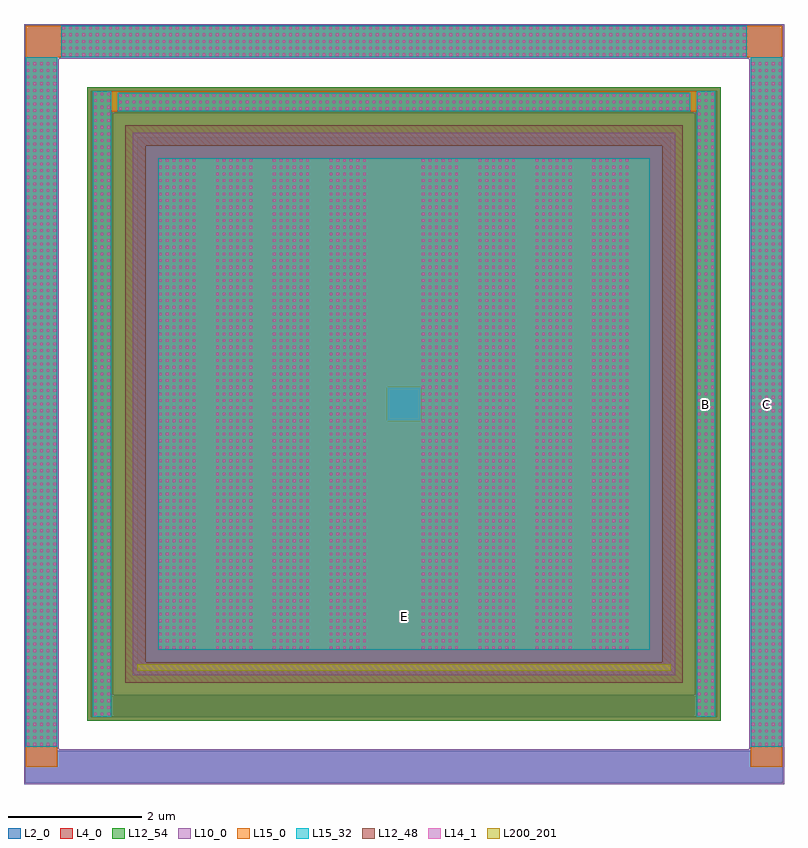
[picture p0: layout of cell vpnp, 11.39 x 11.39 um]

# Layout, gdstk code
import gdstk
lib = gdstk.Library(unit=1e-6, precision=1e-09)
def R(c, l, rs):  # rectangles x0, y0, x1, y1
    for r in rs: c.add(gdstk.rectangle(r[:2], r[2:], *l))
def A(c, l, x, y, w, h, nx, ny, dx, dy):  # array of equal rectangles
    R(c, l, [(x+i*dx, y+j*dy, x+i*dx+w, y+j*dy+h) for i in range(nx) for j in range(ny)])
L2_0 = (2, 0)
L4_0 = (4, 0)
L10_0 = (10, 0)
L12_48 = (12, 48)
L12_54 = (12, 54)
L14_1 = (14, 1)
L15_0 = (15, 0)
L15_32 = (15, 32)
L200_201 = (200, 201)

vpnp = lib.new_cell('vpnp')
R(vpnp, L2_0, [(-12.179,-4.209,-0.827,-3.729), (-12.179,-3.729,-11.699,6.663), (-1.307,-3.729,-0.827,6.663), (-11.199,-3.229,-1.807,-2.889), (-11.199,-2.889,-10.859,5.823), (-2.147,-2.889,-1.807,5.823), (-10.503,-2.533,-2.503,5.467), (-11.199,5.823,-1.807,6.163), (-12.179,6.663,-0.827,7.143)])
R(vpnp, L4_0, [(-11.255,-3.285,-1.751,6.219)])
R(vpnp, L10_0, [(-12.2,-4.23,-0.806,-3.708), (-12.2,-3.708,-11.678,6.642), (-1.328,-3.708,-0.806,6.642), (-10.573,-2.603,-2.433,5.537), (-12.2,6.642,-0.806,7.164)])
R(vpnp, L12_48, [(-10.684,-2.714,-2.322,-2.408), (-10.684,-2.408,-10.378,5.342), (-2.628,-2.408,-2.322,5.342), (-10.684,5.342,-2.322,5.648)])
R(vpnp, L12_54, [(-11.255,-3.285,-1.751,6.219)])
A(vpnp, L14_1, -12.159, -3.653, 0.04, 0.04, 5, 103, 0.1, 0.1)
A(vpnp, L14_1, -1.287, -3.653, 0.04, 0.04, 5, 103, 0.1, 0.1)
A(vpnp, L14_1, -11.149, -3.203, 0.04, 0.04, 3, 94, 0.1, 0.1)
A(vpnp, L14_1, -2.097, -3.203, 0.04, 0.04, 3, 94, 0.1, 0.1)
A(vpnp, L14_1, -10.173, -2.203, 0.04, 0.04, 6, 74, 0.1, 0.1)
A(vpnp, L14_1, -9.321, -2.203, 0.04, 0.04, 6, 74, 0.1, 0.1)
A(vpnp, L14_1, -8.469, -2.203, 0.04, 0.04, 6, 74, 0.1, 0.1)
A(vpnp, L14_1, -7.617, -2.203, 0.04, 0.04, 6, 74, 0.1, 0.1)
A(vpnp, L14_1, -6.235, -2.203, 0.04, 0.04, 6, 74, 0.1, 0.1)
A(vpnp, L14_1, -5.383, -2.203, 0.04, 0.04, 6, 74, 0.1, 0.1)
A(vpnp, L14_1, -4.531, -2.203, 0.04, 0.04, 6, 74, 0.1, 0.1)
A(vpnp, L14_1, -3.679, -2.203, 0.04, 0.04, 6, 74, 0.1, 0.1)
A(vpnp, L14_1, -10.773, 5.873, 0.04, 0.04, 86, 3, 0.1, 0.1)
A(vpnp, L14_1, -11.623, 6.683, 0.04, 0.04, 103, 5, 0.1, 0.1)
R(vpnp, L15_0, [(-12.177,-3.969,-11.701,7.141), (-1.305,-3.969,-0.829,7.141), (-11.167,-3.221,-10.891,6.155), (-2.115,-3.221,-1.839,6.155), (-10.191,-2.221,-2.815,1.217), (-10.191,1.217,-6.753,1.717), (-6.253,1.217,-2.815,1.717), (-10.191,1.717,-2.815,5.155), (-10.891,5.855,-2.115,6.155), (-11.701,6.665,-1.305,7.141)])
R(vpnp, L15_32, [(-12.177,-3.671,-11.701,6.665), (-1.305,-3.671,-0.829,6.665), (-11.167,-3.221,-10.891,6.155), (-2.115,-3.221,-1.839,6.155), (-10.191,-2.221,-2.815,5.155), (-10.791,5.855,-2.215,6.131), (-11.641,6.665,-1.365,7.141)])
R(vpnp, L200_201, [(-10.503,-2.533,-2.503,-2.433)])
vpnp.add(gdstk.Label('E', (-6.503,-1.721), layer=15, texttype=20))
vpnp.add(gdstk.Label('B', (-1.977,1.467), layer=15, texttype=20))
vpnp.add(gdstk.Label('C', (-1.067,1.467), layer=15, texttype=20))

lib.write_gds('vpnp.gds')
